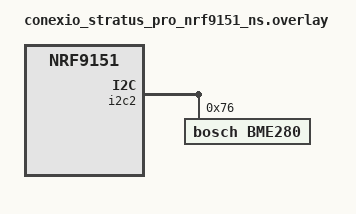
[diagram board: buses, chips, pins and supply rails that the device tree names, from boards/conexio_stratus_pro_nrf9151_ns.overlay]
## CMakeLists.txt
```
# Copyright (c) 2024 Conexio Technologies, Inc
# SPDX-License-Identifier: Apache-2.0

cmake_minimum_required(VERSION 3.20.0)
find_package(Zephyr REQUIRED HINTS $ENV{ZEPHYR_BASE})
project(bme280)

FILE(GLOB app_sources src/*.c)
target_sources(app PRIVATE ${app_sources})
```

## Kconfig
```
#
# Copyright (c) 2024 Conexio Technologies, Inc
# Copyright (c) 2020, Nordic Semiconductor ASA
# SPDX-License-Identifier: Apache-2.0
#

config LOG
	default y

config LOG_PRINTK
	default y

config SENSOR_LOG_LEVEL
	default 4

# Enable SPI and I2C support by default so that the sample works with
# the device connected either way. These defaults can be overridden if
# needed.
config SPI
	default y

config I2C
	default y

source "Kconfig.zephyr"
```

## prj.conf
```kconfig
#
# Copyright (c) 2024 Conexio Technologies, Inc
#

CONFIG_SENSOR=y
CONFIG_BME280=y
# Enable Zephyr application to be booted by MCUboot
CONFIG_BOOTLOADER_MCUBOOT=y
```

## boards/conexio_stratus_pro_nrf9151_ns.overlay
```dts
/*
 * Copyright (c) 2024 Conexio Technologies, Inc
 *
 * SPDX-License-Identifier: Apache-2.0
 */

/*
 * Example configuration of a BME280.
 *
 * Device address is 0x76. Your device may have a different
 * address; check your device documentation if unsure.
 * 0x76 - SDO <-> GND
 * 0x77 - SDO <-> VCC
 */
&i2c2 {
	status = "okay";
	bme280@76 {
		compatible = "bosch,bme280";
		reg = <0x76>;
		label = "BME280";
	};
};
```

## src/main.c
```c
/*
 * Copyright (c) 2024 Conexio Technologies, Inc
 *
 * SPDX-License-Identifier: Apache-2.0
 */

#include <zephyr/kernel.h>
#include <zephyr/device.h>
#include <zephyr/devicetree.h>
#include <zephyr/drivers/sensor.h>

/*
 * Get a device structure from a devicetree node with compatible
 * "bosch,bme280". (If there are multiple, just pick one.)
 */
static const struct device *get_bme280_device(void)
{
	const struct device *const dev = DEVICE_DT_GET_ANY(bosch_bme280);

	if (dev == NULL) {
		/* No such node, or the node does not have status "okay". */
		printk("\nError: no device found.\n");
		return NULL;
	}

	if (!device_is_ready(dev)) {
		printk("\nError: Device \"%s\" is not ready; "
		       "check the driver initialization logs for errors.\n",
		       dev->name);
		return NULL;
	}

	printk("Found device \"%s\", getting sensor data\n", dev->name);
	return dev;
}

int main(void)
{
	printk("Conexio Stratus BME280 sensor example\n");

	const struct device *dev = get_bme280_device();

	if (dev == NULL) {
		return 0;
	}

	while (1) {
		struct sensor_value temp, press, humidity;

		sensor_sample_fetch(dev);
		sensor_channel_get(dev, SENSOR_CHAN_AMBIENT_TEMP, &temp);
		sensor_channel_get(dev, SENSOR_CHAN_PRESS, &press);
		sensor_channel_get(dev, SENSOR_CHAN_HUMIDITY, &humidity);

		printk("temp: %d.%06d; press: %d.%06d; humidity: %d.%06d\n",
		      temp.val1, temp.val2, press.val1, press.val2,
		      humidity.val1, humidity.val2);

		/* Fetch sensor samples every K_MSEC */
		k_sleep(K_MSEC(1000));
	}
	return 0;
}
```
